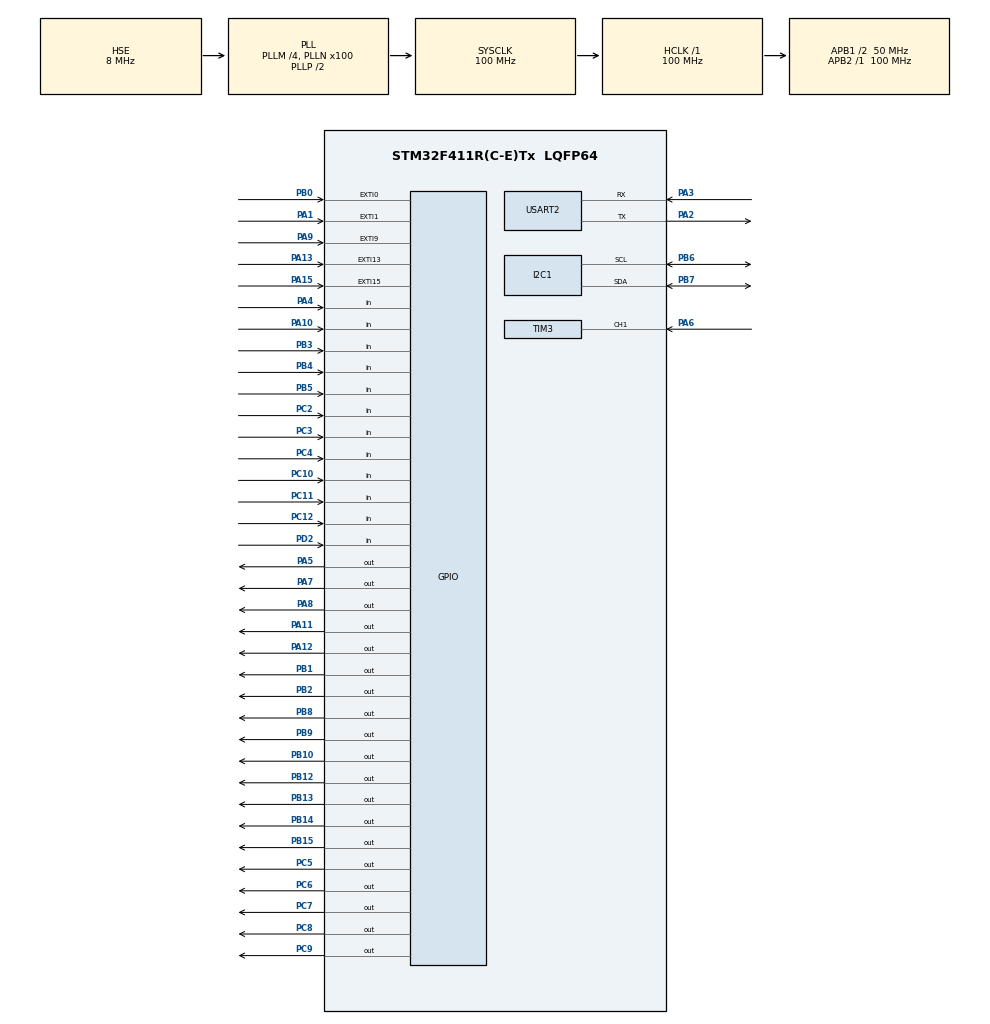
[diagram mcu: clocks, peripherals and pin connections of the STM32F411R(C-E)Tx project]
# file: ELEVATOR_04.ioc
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Mcu.Family=STM32F4
Mcu.Name=STM32F411R(C-E)Tx
Mcu.Package=LQFP64
NVIC.EXTI0_IRQn=true\:0\:0\:false\:false\:true\:true\:true\:true
NVIC.EXTI15_10_IRQn=true\:0\:0\:false\:false\:true\:true\:true\:true
NVIC.EXTI1_IRQn=true\:0\:0\:false\:false\:true\:true\:true\:true
NVIC.EXTI9_5_IRQn=true\:0\:0\:false\:false\:true\:true\:true\:true
NVIC.PriorityGroup=NVIC_PRIORITYGROUP_4
NVIC.TIM1_UP_TIM10_IRQn=true\:0\:0\:false\:false\:true\:true\:true\:true
NVIC.TIM3_IRQn=true\:0\:0\:false\:false\:true\:true\:true\:true
NVIC.USART2_IRQn=true\:0\:0\:false\:false\:true\:true\:true\:true
PA1.Signal=GPXTI1
PA10.GPIO_Mode=GPIO_MODE_INPUT
PA10.GPIO_PuPd=GPIO_PULLDOWN
PA10.Signal=GPIO_Input
PA11.Signal=GPIO_Output
PA12.Signal=GPIO_Output
PA13.Signal=GPXTI13
PA15.Signal=GPXTI15
PA2.Mode=Asynchronous
PA2.Signal=USART2_TX
PA3.Mode=Asynchronous
PA3.Signal=USART2_RX
PA4.Signal=GPIO_Input
PA5.Signal=GPIO_Output
PA6.Signal=S_TIM3_CH1
PA7.Signal=GPIO_Output
PA8.Signal=GPIO_Output
PA9.Signal=GPXTI9
PB0.Signal=GPXTI0
PB1.Signal=GPIO_Output
PB10.Signal=GPIO_Output
PB12.Signal=GPIO_Output
PB13.Signal=GPIO_Output
PB14.Signal=GPIO_Output
PB15.Signal=GPIO_Output
PB2.Signal=GPIO_Output
PB3.GPIO_PuPd=GPIO_PULLDOWN
PB3.Signal=GPIO_Input
PB4.GPIO_PuPd=GPIO_PULLDOWN
PB4.Signal=GPIO_Input
PB5.GPIO_PuPd=GPIO_PULLDOWN
PB5.Signal=GPIO_Input
PB6.Mode=I2C
PB6.Signal=I2C1_SCL
PB7.Mode=I2C
PB7.Signal=I2C1_SDA
PB8.Signal=GPIO_Output
PB9.Signal=GPIO_Output
PC10.GPIO_PuPd=GPIO_PULLUP
PC10.Signal=GPIO_Input
PC11.GPIO_PuPd=GPIO_PULLUP
PC11.Signal=GPIO_Input
PC12.GPIO_PuPd=GPIO_PULLUP
PC12.Signal=GPIO_Input
PC2.GPIO_PuPd=GPIO_PULLUP
PC2.Signal=GPIO_Input
PC3.GPIO_PuPd=GPIO_PULLUP
PC3.Signal=GPIO_Input
PC4.Signal=GPIO_Input
PC5.Signal=GPIO_Output
PC6.Signal=GPIO_Output
PC7.Signal=GPIO_Output
PC8.Signal=GPIO_Output
PC9.Signal=GPIO_Output
PD2.GPIO_PuPd=GPIO_PULLUP
PD2.Signal=GPIO_Input
PH0\ -\ OSC_IN.Mode=HSE-External-Clock-Source
PH0\ -\ OSC_IN.Signal=RCC_OSC_IN
PH1\ -\ OSC_OUT.Mode=HSE-External-Clock-Source
PH1\ -\ OSC_OUT.Signal=RCC_OSC_OUT
ProjectManager.HeapSize=0x200
ProjectManager.StackSize=0x400
ProjectManager.TargetToolchain=STM32CubeIDE
RCC.48MHZClocksFreq_Value=50000000
RCC.AHBFreq_Value=100000000
RCC.APB1CLKDivider=RCC_HCLK_DIV2
RCC.APB1Freq_Value=50000000
RCC.APB1TimFreq_Value=100000000
RCC.APB2Freq_Value=100000000
RCC.APB2TimFreq_Value=100000000
RCC.CortexFreq_Value=100000000
RCC.HCLKFreq_Value=100000000
RCC.HSE_VALUE=8000000
RCC.HSI_VALUE=16000000
RCC.LSE_VALUE=32768
RCC.PLLM=4
RCC.PLLN=100
RCC.PLLSourceVirtual=RCC_PLLSOURCE_HSE
RCC.SYSCLKFreq_VALUE=100000000
RCC.SYSCLKSource=RCC_SYSCLKSOURCE_PLLCLK
RCC.VCOOutputFreq_Value=200000000
SH.S_TIM3_CH1.0=TIM3_CH1,Input_Capture1_from_TI1
TIM11.Prescaler=100-1
TIM3.Channel-Input_Capture1_from_TI1=TIM_CHANNEL_1
TIM3.Prescaler=100-1
USART2.VirtualMode=VM_ASYNC
VP_TIM10_VS_ClockSourceINT.Mode=Enable_Timer
VP_TIM11_VS_ClockSourceINT.Mode=Enable_Timer
VP_TIM3_VS_ClockSourceINT.Mode=Internal
board=custom

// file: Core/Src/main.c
/* USER CODE BEGIN Header */
/**
  ******************************************************************************
  * @file           : main.c
  * @brief          : Main program body
  ******************************************************************************
  * @attention
  *
  * Copyright (c) 2026 STMicroelectronics.
  * All rights reserved.
  *
  * This software is licensed under terms that can be found in the LICENSE file
  * in the root directory of this software component.
  * If no LICENSE file comes with this software, it is provided AS-IS.
  *
  ******************************************************************************
  */
/* USER CODE END Header */
#include "main.h"
#include "i2c.h"
#include "tim.h"
#include "usart.h"
#include "gpio.h"

/* USER CODE BEGIN Includes */
#include "stdio.h"

#include "elevator.h"
#include "stepper_t.h"

#include "led.h"
#include "segment.h"
#include "i2c_lcd.h"
/* USER CODE END Includes */

/* USER CODE BEGIN PV */

Stepper_t stepper;

/* USER CODE END PV */

void SystemClock_Config(void);
/* USER CODE BEGIN PFP */

// uart
//int _write(int file, char* p, int len){
//    HAL_UART_Transmit(&huart2, (char *)p, len, 10);
//    return len;
//}

int _write(int file, char* p, int len){
    // (char *)p를 (uint8_t *)p로 변경
    HAL_UART_Transmit(&huart2, (uint8_t *)p, len, 10);
    return len;
}

void HAL_TIM_PeriodElapsedCallback(TIM_HandleTypeDef *htim)
{
if(htim->Instance == TIM10)
    {
        Stepper_ISR(&stepper);
    }
}
void DEBUG_ElevatorStatus(uint8_t STT);
/* USER CODE END PFP */

int main(void)
{

  /* MCU Configuration--------------------------------------------------------*/

  /* Reset of all peripherals, Initializes the Flash interface and the Systick. */
  HAL_Init();

  /* Configure the system clock */
  SystemClock_Config();

  /* Initialize all configured peripherals */
  MX_GPIO_Init();
  MX_TIM3_Init();
  MX_TIM11_Init();
  MX_USART2_UART_Init();
  MX_TIM10_Init();
  MX_I2C1_Init();
  /* USER CODE BEGIN 2 */

  HAL_TIM_Base_Start(&htim11);                // delay_us
  HAL_TIM_IC_Start_IT(&htim3, TIM_CHANNEL_1); // Ultrasonic waves

  i2c_lcd_init();
//  move_cursor(0, 0);
//  lcd_string("Hello ARM");
//  move_cursor(1, 0);
//  lcd_string("good STM");

  // 엘베의 현재위치값으로 초기화.
  //fl_check(&ele, &fl);
  elvinit(&ele, &fl);

  // 초기값 설정
  Stepper_Init(&stepper, &htim10);
  ledLeftShift_Start();

  uint8_t STT = idle; //초기
  /* USER CODE END 2 */

  /* Infinite loop */
  /* USER CODE BEGIN WHILE */
  while (1)
  {
    /**
     * =================
     * 마지막 과제
     * 예약 취소를 하거나 처음 시작할 때 초기위치가 특정되지 않는 경우의 상황 처리.
     * 1. 예약 취소
     * 2. 초기화시 위치조정.
     * =================
     */
    Stepper_Task(&stepper);
//    fl_check(&ele, &fl);  // 현재위치 반환
    res(&ele,&fl);        //예약 잡기 취소
    STT = ele.num[0].state; // === res 에서 모든 예약이 이동중 취소되면 이동하고있는 가장 가까운 층으로 이동후 idle 진입해야 함.===

    segmentDisplay(ele.num[0].current + 1);
//    ledLeftShift_Task(8);
//    ledOn(8);

    DEBUG_ElevatorStatus(STT); // 메인함수 제일 아래에 선언됨(제미나이 코드)

    switch(STT)
    {
      case(idle) :
      {
      	LCD_UpdateStatus("Door is Closed");
//        ledOff(8);
        Do(&ele,&fl);
        break;
      }
      case(force_up):
	{
      	LCD_UpdateStatus("Now moving DOWN");
//      	ledRightShift_Task(8);
      	ABSGoing(&ele, &fl, &stepper);
      	break;
	}
      case(force_down):
      {
      	LCD_UpdateStatus("Now moving UP");
        ledLeftShift_Task(8);
        ABSGoing(&ele, &fl, &stepper);
        break;
      }
      case(go_up) : // 위로
	{
      	LCD_UpdateStatus("Now moving UP ");
      	ledLeftShift_Task(8);
      	Going(&ele, &fl,&stepper);
      	break;
	}
      case(go_down): // AI
      {
      	LCD_UpdateStatus("Now moving DOWN ");
        ledRightShift_Task(8);
        Going(&ele, &fl,&stepper);
        break;
      }
      case(waiting) :
      {
      	LCD_UpdateStatus("Door Opening...");
        ledOff(8);
        Open(&ele, &fl);
        break;
      }
      default:
      {
      	ledOff(8);
      }
    }
    /* USER CODE END WHILE */

  }
}

void SystemClock_Config(void)
{
  RCC_OscInitTypeDef RCC_OscInitStruct = {0};
  RCC_ClkInitTypeDef RCC_ClkInitStruct = {0};

  /** Configure the main internal regulator output voltage
  */
  __HAL_RCC_PWR_CLK_ENABLE();
  __HAL_PWR_VOLTAGESCALING_CONFIG(PWR_REGULATOR_VOLTAGE_SCALE1);

  /** Initializes the RCC Oscillators according to the specified parameters
  * in the RCC_OscInitTypeDef structure.
  */
  RCC_OscInitStruct.OscillatorType = RCC_OSCILLATORTYPE_HSE;
  RCC_OscInitStruct.HSEState = RCC_HSE_BYPASS;
  RCC_OscInitStruct.PLL.PLLState = RCC_PLL_ON;
  RCC_OscInitStruct.PLL.PLLSource = RCC_PLLSOURCE_HSE;
  RCC_OscInitStruct.PLL.PLLM = 4;
  RCC_OscInitStruct.PLL.PLLN = 100;
  RCC_OscInitStruct.PLL.PLLP = RCC_PLLP_DIV2;
  RCC_OscInitStruct.PLL.PLLQ = 4;
  if (HAL_RCC_OscConfig(&RCC_OscInitStruct) != HAL_OK)
  {
    Error_Handler();
  }

  /** Initializes the CPU, AHB and APB buses clocks
  */
  RCC_ClkInitStruct.ClockType = RCC_CLOCKTYPE_HCLK|RCC_CLOCKTYPE_SYSCLK
                              |RCC_CLOCKTYPE_PCLK1|RCC_CLOCKTYPE_PCLK2;
  RCC_ClkInitStruct.SYSCLKSource = RCC_SYSCLKSOURCE_PLLCLK;
  RCC_ClkInitStruct.AHBCLKDivider = RCC_SYSCLK_DIV1;
  RCC_ClkInitStruct.APB1CLKDivider = RCC_HCLK_DIV2;
  RCC_ClkInitStruct.APB2CLKDivider = RCC_HCLK_DIV1;

  if (HAL_RCC_ClockConfig(&RCC_ClkInitStruct, FLASH_LATENCY_3) != HAL_OK)
  {
    Error_Handler();
  }
}

/* USER CODE BEGIN 4 */
void DEBUG_ElevatorStatus(uint8_t STT)
{
    static uint32_t lastLogTime = 0;
    if (HAL_GetTick() - lastLogTime < 500) return;
    lastLogTime = HAL_GetTick();

    const char* stateNames[] = {"IDLE", "UP", "DOWN", "WAIT", "ABS_UP", "ABS_DN"};

    printf("\r\n--- Elevator Status ---");
    if (STT <= 5) printf("\r\nState:  [%s]", stateNames[STT]);
    else          printf("\r\nState:  [ERR:%d]", STT);

    printf("\r\nFloor:  Current[%d] -> Goal[%d]", ele.num[0].current + 1, ele.num[0].goal + 1);

    if (STT == force_up || STT == force_down) {
        printf(" (Target: %dF)", ele.num[0].absol_idx + 1);
    }

    printf("\r\nRes:    ");
    for(int i = 0; i < TOP; i++) {
        char u = (fl.floor[i].upstate == fl_Up) ? 'U' : '-';
        char d = (fl.floor[i].downstate == fl_Down) ? 'D' : '-';
        char b = (ele.num[0].reserve[i] == ele_busy) ? 'B' : '-';
        char a = (i == ele.num[0].absol_idx && (STT == force_up || STT == force_down)) ? '@' : ' ';
        printf("[%d:%c%c%c%c] ", i+1, u, d, b, a);
    }
    printf("\r\n-----------------------\r\n");
}

void HAL_GPIO_EXTI_Callback(uint16_t GPIO_Pin)
{
    /* * Rising Edge 검출: 물체가 들어와서 센서 전압이 Low -> High가 되는 순간 실행
     */
    switch(GPIO_Pin)
    {
        case GPIO_PIN_9: // 1층 (PA9)
            ele.num[0].current = 0;
//            printf("PA9 detected!\n");
            break;

        case GPIO_PIN_0: // 2층 (PA0)
            ele.num[0].current = 1;
//            printf("PA0 detected!\n");
            break;

        case GPIO_PIN_1: // 3층 (PA1)
            ele.num[0].current = 2;
            break;

        case GPIO_PIN_15: // 4층 (PA15)
            ele.num[0].current = 3;
            break;

        default:
            break;
    }
}
/* USER CODE END 4 */

void Error_Handler(void)
{
  __disable_irq();
  while (1)
  {
  }
}
